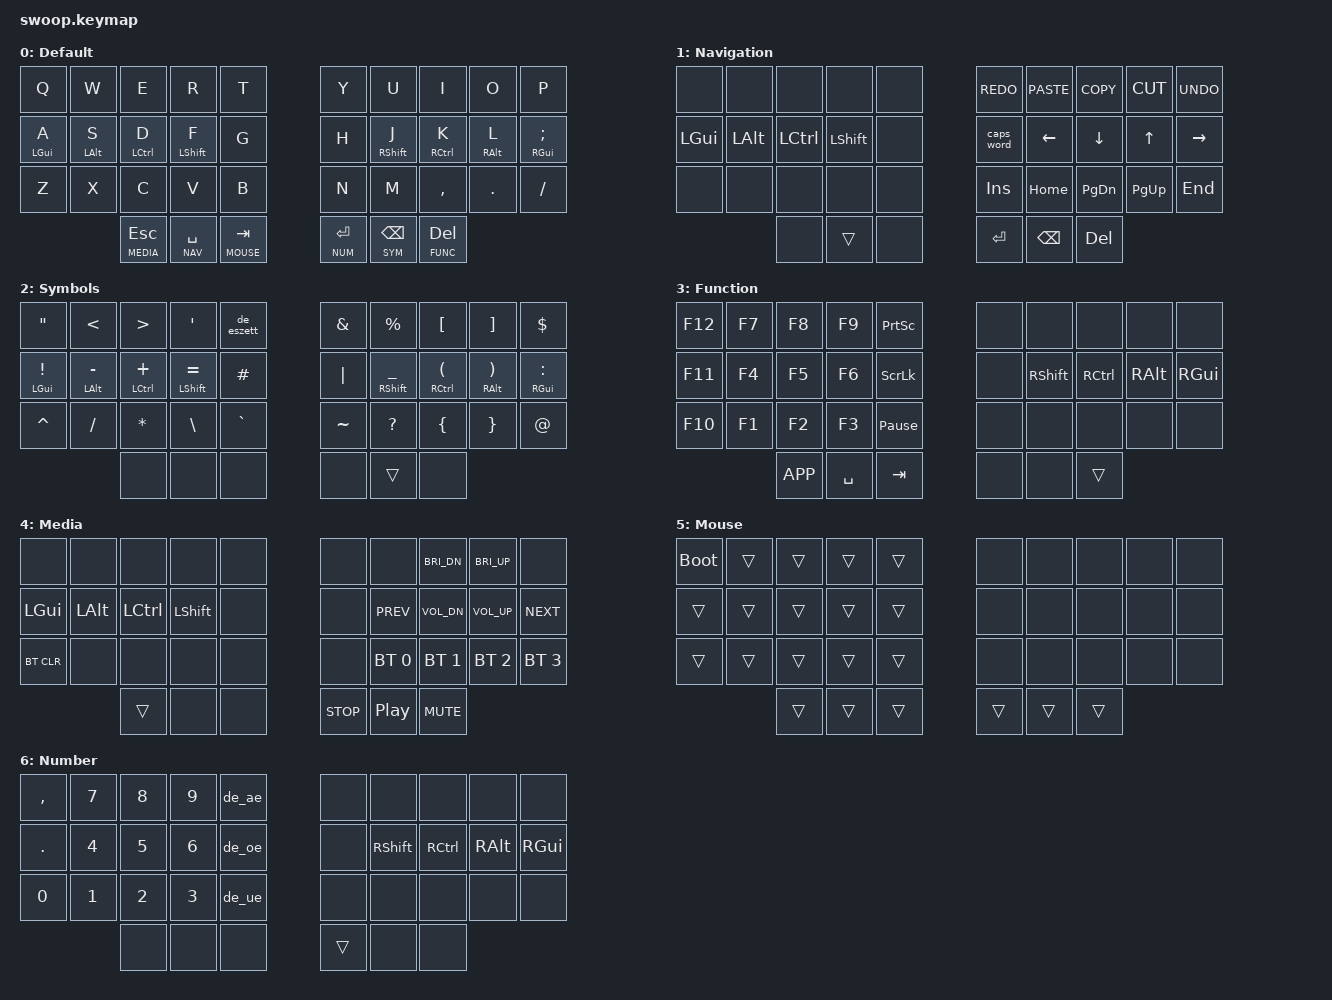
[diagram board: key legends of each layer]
#include <behaviors.dtsi>
#include <dt-bindings/zmk/keys.h>
#include <dt-bindings/zmk/bt.h>
#include <dt-bindings/zmk/outputs.h>

#define HOST_OS 2
#include "../../../../zmk-nodefree-config/helper.h"
#include "../../../../zmk-nodefree-config/international_chars/german.dtsi""

#define DEFAULT 0
#define NAV     1
#define SYM     2
#define FUNC    3
#define MEDIA   4
#define MOUSE   5
#define NUM     6

&caps_word {
    continue-list = <UNDERSCORE MINUS>;
};

/ {
    behaviors {
        hm: homerow_mods {
            compatible = "zmk,behavior-hold-tap";
            label = "HOMEROW_MODS";
            #binding-cells = <2>;
            tapping-term-ms = <200>;
            quick_tap_ms = <0>;
            flavor = "tap-preferred";
            bindings = <&kp>, <&kp>;
        };
        hs: homerow_shift {
            compatible = "zmk,behavior-hold-tap";
            label = "HOMEROW_SHIFT";
            #binding-cells = <2>;
            tapping-term-ms = <150>;
            quick_tap_ms = <0>;
            flavor = "tap-preferred";
            bindings = <&kp>, <&kp>;
        };
    };
};

/ {

    keymap {
        compatible = "zmk,keymap";

        default_layer {
            label = "Default";

            bindings = <
    &kp Q        &kp W        &kp E       &kp R         &kp T                                       &kp Y         &kp U        &kp I         &kp O       &kp P
    &hm LGUI A   &hm LALT S   &hm LCTL D  &hs LSHIFT F  &kp G                                       &kp H         &hs RSHIFT J &hm RCTL K    &hm RALT L  &hm RGUI SEMICOLON
    &kp Z        &kp X        &kp C       &kp V         &kp B                                       &kp N         &kp M        &kp COMMA     &kp DOT     &kp FSLH
                                    &lt MEDIA ESC &lt NAV SPACE  &lt MOUSE TAB    &lt NUM RET &lt SYM BSPC &lt FUNC DEL
            >;
        };

        nav_layer {
            label = "Navigation";

            bindings = <
    &none       &none       &none      &none        &none                                      &kp K_REDO   &kp K_PASTE  &kp K_COPY    &kp K_CUT   &kp K_UNDO
    &kp LGUI    &kp LALT    &kp LCTL   &kp LSHIFT   &none                                      &caps_word   &kp LEFT     &kp DOWN      &kp UP      &kp RIGHT
    &none       &none       &none      &none        &none                                      &kp INS      &kp HOME     &kp PG_DN     &kp PG_UP   &kp END
                                       &none        &trans       &none          &kp RET        &kp BSPC     &kp DEL
            >;
        };

        
        sym_layer {
            label = "Symbols";

            bindings = <
    &kp DQT        &kp LT          &kp GT         &kp APOS          &de_eszett       &kp AMPS   &kp PRCNT         &kp LBKT       &kp RBKT       &kp DLLR
    &hm LGUI EXCL  &hm LALT MINUS  &hm LCTL PLUS  &hs LSHIFT EQUAL  &kp HASH         &kp PIPE   &hs RSHIFT UNDER  &hm RCTL LPAR  &hm RALT RPAR  &hm RGUI COLON
    &kp CARET      &kp FSLH        &kp STAR       &kp BSLH          &kp GRAVE        &kp TILDE  &kp QMARK         &kp LBRC       &kp RBRC       &kp AT
                                            &none           &none       &none        &none     &trans       &none
            >;
        };

        func_layer {
            label = "Function";

            bindings = <
    &kp F12    &kp F7     &kp F8     &kp F9       &kp PSCRN                                  &none       &none       &none      &none        &none
    &kp F11    &kp F4     &kp F5     &kp F6       &kp SLCK                                   &none       &kp RSHIFT  &kp RCTL   &kp RALT     &kp RGUI
    &kp F10    &kp F1     &kp F2     &kp F3       &kp PAUSE_BREAK                            &none       &none       &none      &none        &none
                                            &kp K_APP           &kp SPACE       &kp TAB        &none       &none       &trans
            >;
        };

        media_layer {
            label = "Media";

            bindings = <
    &none       &none       &none      &none        &none                                      &none      &none          &kp C_BRI_DN   &kp C_BRI_UP          &none
    &kp LGUI    &kp LALT    &kp LCTL   &kp LSHIFT   &none                                      &none      &kp C_PREV     &kp K_VOL_DN   &kp K_VOL_UP   &kp C_NEXT
    &bt BT_CLR       &none       &none      &none        &none                                 &none      &bt BT_SEL 0   &bt BT_SEL 1   &bt BT_SEL 2   &bt BT_SEL 3
                                            &trans            &none        &none         &kp C_STOP      &kp C_PP       &kp C_MUTE
            >;
        };

        mouse_layer {
            label = "Mouse";

            bindings = <
    &bootloader  &trans       &trans       &trans       &trans                                           &none       &none       &none      &none        &none
    &trans       &trans       &trans       &trans       &trans                                           &none       &none       &none      &none        &none
    &trans       &trans       &trans       &trans       &trans                                           &none       &none       &none      &none        &none
                                              &trans       &trans           &trans           &trans           &trans       &trans
            >;
        };

        num_layer {
            label = "Number";

            bindings = <
    &kp COMMA    &kp N7       &kp N8       &kp N9        &de_ae                   &none       &none       &none      &none        &none
    &kp DOT      &kp N4       &kp N5       &kp N6        &de_oe                   &none       &kp RSHIFT  &kp RCTL   &kp RALT     &kp RGUI
    &kp N0       &kp N1       &kp N2       &kp N3        &de_ue                   &none       &none       &none      &none        &none
                                           &none       &none        &none         &trans         &none      &none
            >;
        };
    };
};
